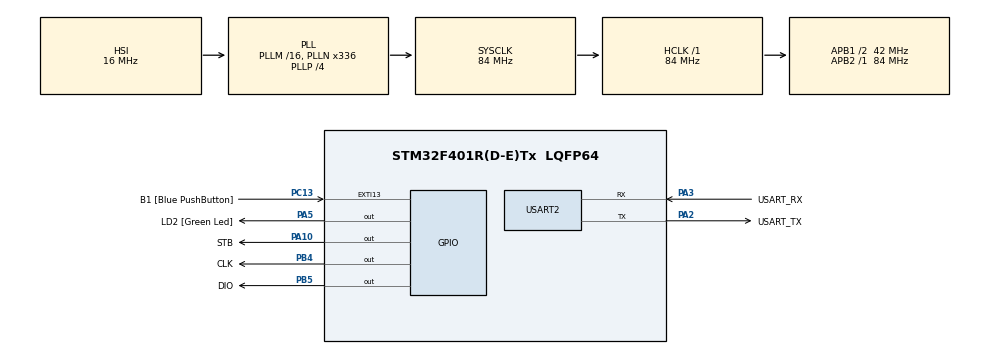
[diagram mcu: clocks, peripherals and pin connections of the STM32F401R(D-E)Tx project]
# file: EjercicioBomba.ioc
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Mcu.Family=STM32F4
Mcu.Name=STM32F401R(D-E)Tx
Mcu.Package=LQFP64
NVIC.PriorityGroup=NVIC_PRIORITYGROUP_4
PA10.GPIO_Label=STB
PA10.Signal=GPIO_Output
PA13.GPIO_Label=TMS
PA13.Mode=Trace_Asynchronous_SW
PA13.Signal=SYS_JTMS-SWDIO
PA14.GPIO_Label=TCK
PA14.Mode=Trace_Asynchronous_SW
PA14.Signal=SYS_JTCK-SWCLK
PA2.GPIO_Label=USART_TX
PA2.GPIO_Mode=GPIO_MODE_AF_PP
PA2.GPIO_PuPd=GPIO_NOPULL
PA2.GPIO_Speed=GPIO_SPEED_FREQ_LOW
PA2.Mode=Asynchronous
PA2.Signal=USART2_TX
PA3.GPIO_Label=USART_RX
PA3.GPIO_Mode=GPIO_MODE_AF_PP
PA3.GPIO_PuPd=GPIO_NOPULL
PA3.GPIO_Speed=GPIO_SPEED_FREQ_LOW
PA3.Mode=Asynchronous
PA3.Signal=USART2_RX
PA5.GPIO_Label=LD2 [Green Led]
PA5.GPIO_Mode=GPIO_MODE_OUTPUT_PP
PA5.GPIO_PuPd=GPIO_NOPULL
PA5.GPIO_Speed=GPIO_SPEED_FREQ_LOW
PA5.Signal=GPIO_Output
PB3.GPIO_Label=SWO
PB3.Mode=Trace_Asynchronous_SW
PB3.Signal=SYS_JTDO-SWO
PB4.GPIO_Label=CLK
PB4.Signal=GPIO_Output
PB5.GPIO_Label=DIO
PB5.Signal=GPIO_Output
PC13-ANTI_TAMP.GPIO_Label=B1 [Blue PushButton]
PC13-ANTI_TAMP.GPIO_ModeDefaultEXTI=GPIO_MODE_IT_FALLING
PC13-ANTI_TAMP.GPIO_PuPd=GPIO_NOPULL
PC13-ANTI_TAMP.Signal=GPXTI13
PC14-OSC32_IN.Mode=LSE-External-Oscillator
PC14-OSC32_IN.Signal=RCC_OSC32_IN
PC15-OSC32_OUT.Mode=LSE-External-Oscillator
PC15-OSC32_OUT.Signal=RCC_OSC32_OUT
PH0\ -\ OSC_IN.Mode=HSE-External-Clock-Source
PH0\ -\ OSC_IN.Signal=RCC_OSC_IN
PH1\ -\ OSC_OUT.Mode=HSE-External-Clock-Source
PH1\ -\ OSC_OUT.Signal=RCC_OSC_OUT
ProjectManager.HeapSize=0x200
ProjectManager.StackSize=0x400
ProjectManager.TargetToolchain=STM32CubeIDE
RCC.48MHZClocksFreq_Value=48000000
RCC.AHBFreq_Value=84000000
RCC.APB1CLKDivider=RCC_HCLK_DIV2
RCC.APB1Freq_Value=42000000
RCC.APB1TimFreq_Value=84000000
RCC.APB2Freq_Value=84000000
RCC.APB2TimFreq_Value=84000000
RCC.CortexFreq_Value=84000000
RCC.HCLKFreq_Value=84000000
RCC.HSE_VALUE=8000000
RCC.HSI_VALUE=16000000
RCC.PLLN=336
RCC.PLLP=RCC_PLLP_DIV4
RCC.PLLQ=7
RCC.SYSCLKFreq_VALUE=84000000
RCC.SYSCLKSource=RCC_SYSCLKSOURCE_PLLCLK
RCC.VCOOutputFreq_Value=336000000
USART2.VirtualMode=VM_ASYNC
board=NUCLEO-F401RE

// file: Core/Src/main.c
/* USER CODE BEGIN Header */
/**
  ******************************************************************************
  * @file           : main.c
  * @brief          : Main program body
  ******************************************************************************
  * @attention
  *
  * Copyright (c) 2026 STMicroelectronics.
  * All rights reserved.
  *
  * This software is licensed under terms that can be found in the LICENSE file
  * in the root directory of this software component.
  * If no LICENSE file comes with this software, it is provided AS-IS.
  *
  ******************************************************************************
  */
/* USER CODE END Header */
#include "main.h"
#include <stdio.h>
/* USER CODE BEGIN Includes */
#include "TM1638.h"
/* USER CODE END Includes */

/* USER CODE BEGIN PTD */
TM1638 TM;
#define TICK_MS 10
/* USER CODE END PTD */

UART_HandleTypeDef huart2;
int intentosRestantes=4;
int codigo[4]={1,2,3,4};
int indiceTeclaPulsada=0;
int codigoIntroducido[4]={0,0,0,0};

void SystemClock_Config(void);
static void MX_GPIO_Init(void);
static void MX_USART2_UART_Init(void);

/* USER CODE BEGIN 0 */
enum Estado{
	CUENTA_ATRAS,
	FIN_EXITOSO,
	FIN_FALLIDO
};

void representacionTexto(int valor[3]){
	char caracteres[7];
	sprintf(caracteres, "%d%d.%02d", valor[2], valor[1], valor[0]);
	tm1638_DisplayTxt(&TM, caracteres);
}
void retrocesoCronometro(int valor[3]){
	valor[0]--; //OJO CON ESTO, HACE QUE EMPIECE A CONTAR DESDE 09.99
	if(valor[0]<0){
		valor[0]=99;
		valor[1]--;
		if(valor[1]<0){
			valor[1]=9;
			valor[2]--;
			if(valor[2]<0){
				valor[2]=0;
				valor[1]=0;
				valor[0]=0;
			}
		}
	}
}
void actualizarLeds(int intentos){
	for(int i=1; i<=4; i++){
		if(i<=intentos){
			tm1638_Led(&TM, i, 1);
		}else{
			tm1638_Led(&TM, i, 0);
		}
	}
}
/* USER CODE END 0 */

int main(void)
{

  /* MCU Configuration--------------------------------------------------------*/

  /* Reset of all peripherals, Initializes the Flash interface and the Systick. */
  HAL_Init();

  /* Configure the system clock */
  SystemClock_Config();

  /* Initialize all configured peripherals */
  MX_GPIO_Init();
  MX_USART2_UART_Init();
  /* USER CODE BEGIN 2 */
  TM.clk_port=CLK_GPIO_Port;
  TM.clk_pin=CLK_Pin;
  TM.dio_port=DIO_GPIO_Port;
  TM.dio_pin=DIO_Pin;
  TM.stb_port=STB_GPIO_Port;
  TM.stb_pin=STB_Pin;

  tm1638_TurnOn(&TM, 7);
  tm1638_DisplayClear(&TM);

  int valor[3]={0,0,1};
  static uint32_t tCuenta=0;
  tCuenta=HAL_GetTick();

  enum Estado estadoActual=CUENTA_ATRAS;
  actualizarLeds(intentosRestantes);
  int teclaAnterior=0;
  /* Infinite loop */
  while (1)
  {
	  switch(estadoActual){
	  case CUENTA_ATRAS:
		  if(HAL_GetTick()-tCuenta>=TICK_MS){
			  retrocesoCronometro(valor);
			  representacionTexto(valor);
			  //Si el tiempo se acabo
			  if(valor[2]==0 && valor[1]==0 && valor[0]==0){
				  estadoActual=FIN_FALLIDO;
			  }
			  tCuenta+=TICK_MS;
		  }
		  // ESCANEO DE TECLAS
		  uint8_t teclas=tm1638_ScanButtons(&TM);
		  int teclaPulsada=tm1638_ReadKey(&TM, teclas);
		  if(teclaPulsada!=teclaAnterior){
			  if(teclaPulsada>=1 && teclaPulsada<=4){
				  if(indiceTeclaPulsada<4){
					  codigoIntroducido[indiceTeclaPulsada]=teclaPulsada;
					  indiceTeclaPulsada++;
				  }
			  }
		  }
		  if(indiceTeclaPulsada==4 && tm1638_KeyState(&TM, teclas, 8)){
			  int codigoCorrecto=1;
			  for(int i=0; i<4; i++){
				  if(codigo[i]!=codigoIntroducido[i]){
					  codigoCorrecto=0;
					  break;
				  }
			  }
			  //SI EL codigoCorrecto==1 -> EL CODIGO COINCIDE AL 100% ACABO
			  //SI NO -> ACTUALIZO EL NUM DE INTENTOS Q ME QUEDAN -> RESETO EL ARRAY DE TECLAS PULSADAS
			  if(codigoCorrecto==1){
				  estadoActual=FIN_EXITOSO;
			  }else{
				  intentosRestantes--;
				  actualizarLeds(intentosRestantes);
				  indiceTeclaPulsada=0;
				  for(int i=0; i<4; i++){
					  codigoIntroducido[i]=0;
				  }
				  if(intentosRestantes==0){
					  estadoActual=FIN_FALLIDO;
				  }
			  }
		  }
		  teclaAnterior=teclaPulsada;
		  break;
	  case FIN_EXITOSO:
		  tm1638_DisplayTxt(&TM, "COrrECtO");
		  break;
	  case FIN_FALLIDO:
		  static uint32_t tParpadeo=0;
		  static int estadoLeds=0;
		  if(HAL_GetTick()-tParpadeo>=50){
			  estadoLeds=!estadoLeds;
			  for(int i=1; i<=8; i++){
				  tm1638_Led(&TM, i, estadoLeds);
			  }
			  tParpadeo=HAL_GetTick();
		  }
		  break;
	  }
  }
}

void SystemClock_Config(void)
{
  RCC_OscInitTypeDef RCC_OscInitStruct = {0};
  RCC_ClkInitTypeDef RCC_ClkInitStruct = {0};

  /** Configure the main internal regulator output voltage
  */
  __HAL_RCC_PWR_CLK_ENABLE();
  __HAL_PWR_VOLTAGESCALING_CONFIG(PWR_REGULATOR_VOLTAGE_SCALE2);

  /** Initializes the RCC Oscillators according to the specified parameters
  * in the RCC_OscInitTypeDef structure.
  */
  RCC_OscInitStruct.OscillatorType = RCC_OSCILLATORTYPE_HSI;
  RCC_OscInitStruct.HSIState = RCC_HSI_ON;
  RCC_OscInitStruct.HSICalibrationValue = RCC_HSICALIBRATION_DEFAULT;
  RCC_OscInitStruct.PLL.PLLState = RCC_PLL_ON;
  RCC_OscInitStruct.PLL.PLLSource = RCC_PLLSOURCE_HSI;
  RCC_OscInitStruct.PLL.PLLM = 16;
  RCC_OscInitStruct.PLL.PLLN = 336;
  RCC_OscInitStruct.PLL.PLLP = RCC_PLLP_DIV4;
  RCC_OscInitStruct.PLL.PLLQ = 7;
  if (HAL_RCC_OscConfig(&RCC_OscInitStruct) != HAL_OK)
  {
    Error_Handler();
  }

  /** Initializes the CPU, AHB and APB buses clocks
  */
  RCC_ClkInitStruct.ClockType = RCC_CLOCKTYPE_HCLK|RCC_CLOCKTYPE_SYSCLK
                              |RCC_CLOCKTYPE_PCLK1|RCC_CLOCKTYPE_PCLK2;
  RCC_ClkInitStruct.SYSCLKSource = RCC_SYSCLKSOURCE_PLLCLK;
  RCC_ClkInitStruct.AHBCLKDivider = RCC_SYSCLK_DIV1;
  RCC_ClkInitStruct.APB1CLKDivider = RCC_HCLK_DIV2;
  RCC_ClkInitStruct.APB2CLKDivider = RCC_HCLK_DIV1;

  if (HAL_RCC_ClockConfig(&RCC_ClkInitStruct, FLASH_LATENCY_2) != HAL_OK)
  {
    Error_Handler();
  }
}

static void MX_USART2_UART_Init(void)
{

  huart2.Instance = USART2;
  huart2.Init.BaudRate = 115200;
  huart2.Init.WordLength = UART_WORDLENGTH_8B;
  huart2.Init.StopBits = UART_STOPBITS_1;
  huart2.Init.Parity = UART_PARITY_NONE;
  huart2.Init.Mode = UART_MODE_TX_RX;
  huart2.Init.HwFlowCtl = UART_HWCONTROL_NONE;
  huart2.Init.OverSampling = UART_OVERSAMPLING_16;
  if (HAL_UART_Init(&huart2) != HAL_OK)
  {
    Error_Handler();
  }

}

static void MX_GPIO_Init(void)
{
  GPIO_InitTypeDef GPIO_InitStruct = {0};

  /* GPIO Ports Clock Enable */
  __HAL_RCC_GPIOC_CLK_ENABLE();
  __HAL_RCC_GPIOH_CLK_ENABLE();
  __HAL_RCC_GPIOA_CLK_ENABLE();
  __HAL_RCC_GPIOB_CLK_ENABLE();

  /*Configure GPIO pin Output Level */
  HAL_GPIO_WritePin(GPIOA, LD2_Pin|STB_Pin, GPIO_PIN_RESET);

  /*Configure GPIO pin Output Level */
  HAL_GPIO_WritePin(GPIOB, CLK_Pin|DIO_Pin, GPIO_PIN_RESET);

  /*Configure GPIO pin : B1_Pin */
  GPIO_InitStruct.Pin = B1_Pin;
  GPIO_InitStruct.Mode = GPIO_MODE_IT_FALLING;
  GPIO_InitStruct.Pull = GPIO_NOPULL;
  HAL_GPIO_Init(B1_GPIO_Port, &GPIO_InitStruct);

  /*Configure GPIO pins : LD2_Pin STB_Pin */
  GPIO_InitStruct.Pin = LD2_Pin|STB_Pin;
  GPIO_InitStruct.Mode = GPIO_MODE_OUTPUT_PP;
  GPIO_InitStruct.Pull = GPIO_NOPULL;
  GPIO_InitStruct.Speed = GPIO_SPEED_FREQ_LOW;
  HAL_GPIO_Init(GPIOA, &GPIO_InitStruct);

  /*Configure GPIO pins : CLK_Pin DIO_Pin */
  GPIO_InitStruct.Pin = CLK_Pin|DIO_Pin;
  GPIO_InitStruct.Mode = GPIO_MODE_OUTPUT_PP;
  GPIO_InitStruct.Pull = GPIO_NOPULL;
  GPIO_InitStruct.Speed = GPIO_SPEED_FREQ_LOW;
  HAL_GPIO_Init(GPIOB, &GPIO_InitStruct);

}

void Error_Handler(void)
{
  __disable_irq();
  while (1)
  {
  }
}
